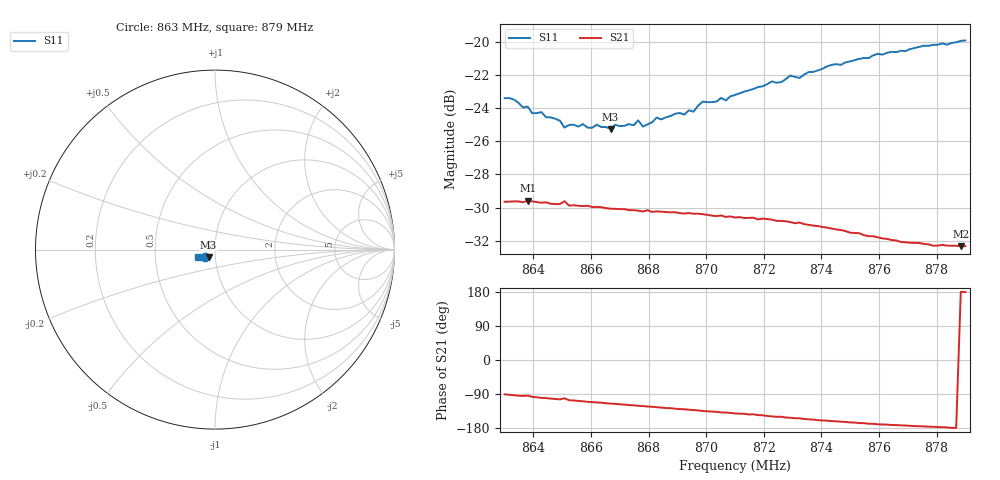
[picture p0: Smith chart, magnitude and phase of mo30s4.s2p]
# HZ S RI R 50
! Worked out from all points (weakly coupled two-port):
!   101 points, 863 MHz to 879 MHz, reference 50 ohm
!   highest |S21| = -29.59 dB at 863.8 MHz (marker M1); lowest = -32.3 dB at 878.84 MHz (marker M2)
!   lowest |S11| = -25.2 dB at 866.68 MHz (marker M3), VSWR 1.12, Z = 46.4 - j3.82 ohm
!   |S11| at or under -10 dB: start of sweep to end of sweep
!   S12 and S22 are empty: the file has one direction only
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8.63e8  -0.0554 -0.0389  -0.000279 -0.0329  0 0  0 0
8.638e8  -0.0501 -0.0396  -0.00232 -0.0331  0 0  0 0
8.6396e8  -0.0489 -0.0363  -0.00418 -0.0327  0 0  0 0
8.6428e8  -0.0476 -0.0387  -0.00569 -0.0322  0 0  0 0
8.6492e8  -0.0442 -0.0373  -0.00777 -0.0315  0 0  0 0
8.6508e8  -0.0416 -0.0361  -0.00633 -0.0324  0 0  0 0
8.6572e8  -0.0404 -0.0394  -0.0104 -0.0302  0 0  0 0
8.6668e8  -0.0361 -0.041  -0.0132 -0.0284  0 0  0 0
8.6684e8  -0.0368 -0.0425  -0.0136 -0.0282  0 0  0 0
8.6748e8  -0.0348 -0.0439  -0.0153 -0.027  0 0  0 0
8.6764e8  -0.0366 -0.045  -0.0159 -0.0265  0 0  0 0
8.678e8  -0.0339 -0.044  -0.0161 -0.0262  0 0  0 0
8.6828e8  -0.0345 -0.048  -0.0175 -0.0253  0 0  0 0
8.6844e8  -0.0346 -0.047  -0.0178 -0.025  0 0  0 0
8.6956e8  -0.0361 -0.0499  -0.0203 -0.0225  0 0  0 0
8.6988e8  -0.0374 -0.0545  -0.0212 -0.0215  0 0  0 0
8.7068e8  -0.0377 -0.055  -0.0222 -0.0196  0 0  0 0
8.71e8  -0.0399 -0.0566  -0.0229 -0.0186  0 0  0 0
8.7372e8  -0.0541 -0.0606  -0.0257 -0.0107  0 0  0 0
8.7644e8  -0.0752 -0.0554  -0.0249 -0.00375  0 0  0 0
8.7884e8  -0.0922 -0.0408  -0.0242 1.3e-05  0 0  0 0
8.79e8  -0.0931 -0.0394  -0.0242 0.000205  0 0  0 0
